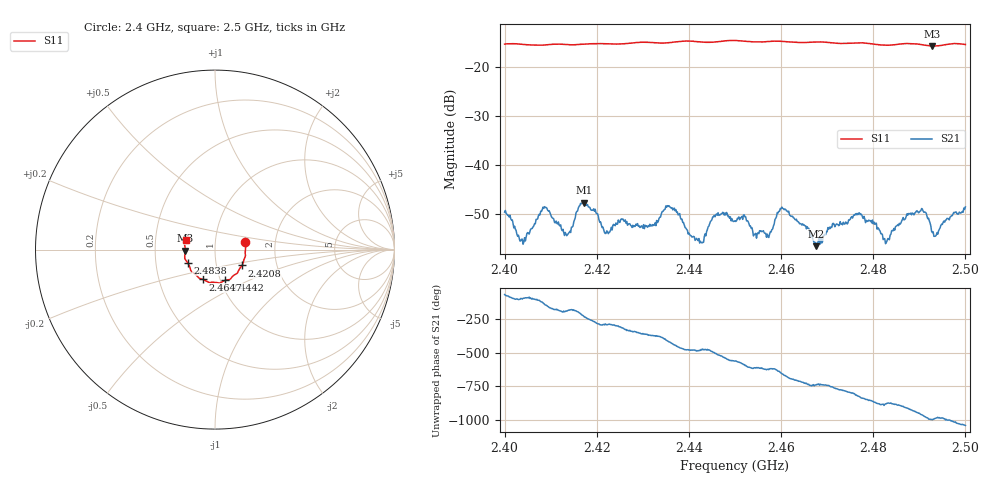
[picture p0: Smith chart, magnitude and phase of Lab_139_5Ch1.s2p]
# Hz S RI R 50
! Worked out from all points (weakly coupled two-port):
!   601 points, 2.4 GHz to 2.5 GHz, reference 50 ohm
!   highest |S21| = -47.78 dB at 2.4172 GHz (marker M1); lowest = -56.7 dB at 2.4677 GHz (marker M2)
!   lowest |S11| = -15.6 dB at 2.4928 GHz (marker M3), VSWR 1.40, Z = 35.8 - j0.393 ohm
!   |S11| at or under -10 dB: start of sweep to end of sweep
!   S12 and S22 are empty: the file has one direction only
!   S11 on the Smith chart (normalised r, x): 2.4 GHz: 1.40, +0.12; 2.4208 GHz: 1.33, -0.24; 2.4442 GHz: 1.05, -0.37; 2.4647 GHz: 0.83, -0.29; 2.4838 GHz: 0.73, -0.11; 2.5 GHz: 0.72, +0.08
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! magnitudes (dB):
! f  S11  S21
! 2.4 GHz  -15.2  -49.7
! 2.404 GHz  -15.3  -56.3
! 2.4087 GHz  -15.4  -48.6
! 2.4138 GHz  -15.3  -54.2
! 2.4167 GHz  -15.3  -48.0
! 2.4172 GHz  -15.2  -47.8
! 2.4208 GHz  -15.1  -51.7
! 2.4333 GHz  -15.0  -51.6
! 2.4355 GHz  -15.0  -48.5
! 2.4418 GHz  -14.7  -55.4
! 2.4442 GHz  -14.9  -52.7
! 2.45 GHz  -14.5  -51.5
! 2.4603 GHz  -14.7  -48.9
! 2.4647 GHz  -14.9  -52.1
! 2.4667 GHz  -14.8  -54.0
! 2.4677 GHz  -14.8  -56.7
! 2.4767 GHz  -15.0  -50.2
! 2.4833 GHz  -15.5  -55.2
! 2.4838 GHz  -15.4  -54.2
! 2.4905 GHz  -15.3  -49.0
! 2.4928 GHz  -15.6  -53.9
! 2.5 GHz  -15.3  -48.6
